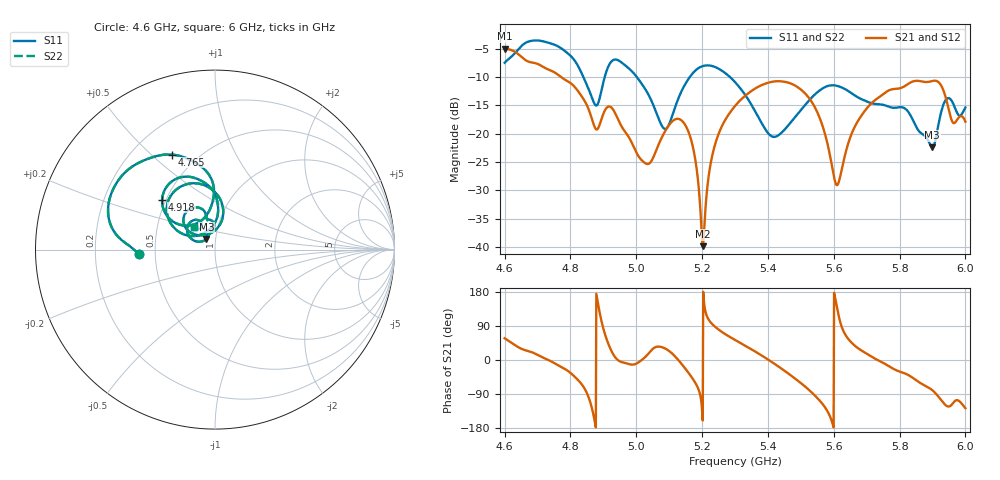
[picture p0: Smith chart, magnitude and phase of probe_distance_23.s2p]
! TOUCHSTONE file generated by CST MICROWAVE STUDIO
! Date and time: Sat Nov 30 13:11:02 2024
! Project name: test_tuning.cst
! Parameters = {airCoaxOuterDiameter=3; chamferAngle=45; chamferWidth=24; connectorLength=10; drillingHoleDiameter=4.1; feedLength=60; flareDiameter=130; flareLength=70; gratingDistance=0; gratingGap=1.90274; outletLength=30; polarizerLength=134; probe1Diameter=1.3; probe1Distance=19; probe1Length=1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
! Header version: 2024
! Port assignment regex: !\s*Touchstone port\s*([0-9]+)\s*=\s*(CST MWS port|CST DES external port|CST DES block port)\s*(.+)\s* \(\"(.*)\"\)(\s*mode\s*([0-9]+))?.*
! Touchstone port assignment:
! Touchstone port 1 = CST MWS port 1 ("Input1")
! Touchstone port 2 = CST MWS port 2 ("Input2")
# GHz S MA R 50
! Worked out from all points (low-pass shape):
!   1001 points, 4.6 GHz to 6 GHz, reference 50 ohm
!   highest |S21| = -5.03 dB at 4.6 GHz (marker M1); lowest = -39.8 dB at 5.202 GHz (marker M2)
!   |S21| within 3 dB of the highest: start of sweep to 4.711 GHz
!   lowest |S11| = -22.4 dB at 5.899 GHz (marker M3), VSWR 1.16, Z = 45.1 + j5.34 ohm
!   |S11| at or under -10 dB: 4.839 GHz to 4.904 GHz (65.04 MHz wide, 1.34 % of centre); 5.001 GHz to 5.163 GHz (161.5 MHz wide, 3.18 % of centre); 5.284 GHz to end of sweep
!   |S22| runs from -22.4 to -3.6 dB; largest |S21 - S12| = 2.5e-06
!   S11 on the Smith chart (normalised r, x): 4.6 GHz: 0.41, -0.03; 4.765 GHz: 0.36, +0.58; 4.918 GHz: 0.48, +0.32; 6 GHz: 0.77, +0.20
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4.6  0.4216 -176.5  0.5607 57.4  0.5607 57.4  0.4216 -176.5
4.6728  0.6484 155.7  0.4308 23.4  0.4308 23.4  0.6484 155.7
4.7652  0.5819 114.5  0.3255 -15.4  0.3255 -15.4  0.5819 114.5
4.8338  0.3421 91.1  0.2142 -63.6  0.2142 -63.6  0.3421 91.1
4.8786  0.177 120.8  0.109 175.0  0.109 175.0  0.177 120.8
4.9178  0.4052 136.6  0.1737 36.9  0.1737 36.9  0.4052 136.6
5.0228  0.2586 86.8  0.05614 4.3  0.05614 4.3  0.2586 86.8
5.0676  0.1364 94.2  0.07991 35.4  0.07991 35.4  0.1364 94.2
5.0942  0.1131 130.6  0.1129 27.2  0.1129 27.2  0.1131 130.6
5.1516  0.282 149.9  0.1153 -25.6  0.1153 -25.6  0.282 149.9
5.1782  0.3568 138.9  0.06194 -58.6  0.06194 -58.6  0.3568 138.9
5.202  0.394 126.3  0.0102 -159.7  0.0102 -159.7  0.394 126.3
5.237  0.3892 108.3  0.07576 89.6  0.07576 89.6  0.3892 108.3
5.3  0.2849 84.5  0.1752 53.1  0.1752 53.1  0.2849 84.5
5.4162  0.09376 108.3  0.2878 -7.8  0.2878 -7.8  0.09376 108.3
5.5338  0.209 142.9  0.1892 -86.2  0.1892 -86.2  0.209 142.9
5.6108  0.2634 117.2  0.03523 134.8  0.03523 134.8  0.2634 117.2
5.6696  0.2121 104.8  0.1237 33.8  0.1237 33.8  0.2121 104.8
5.7676  0.1727 104.2  0.2407 -16.3  0.2407 -16.3  0.1727 104.2
5.8992  0.07586 129.1  0.291 -79.5  0.291 -79.5  0.07587 129.1
5.9412  0.2 139.7  0.2034 -120.1  0.2034 -120.1  0.2 139.7
6  0.1699 132.6  0.1275 -127.2  0.1275 -127.2  0.1699 132.6
